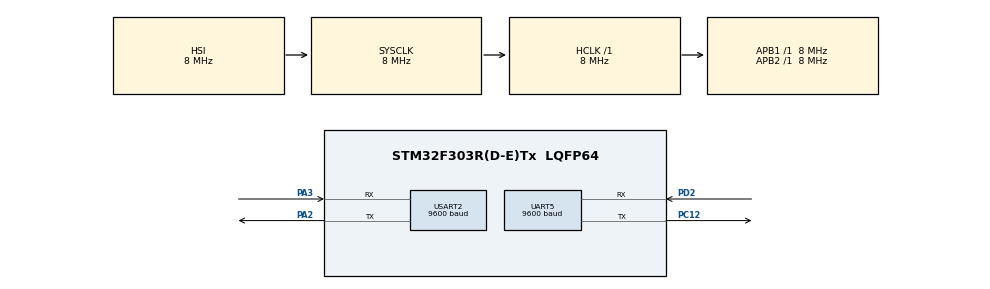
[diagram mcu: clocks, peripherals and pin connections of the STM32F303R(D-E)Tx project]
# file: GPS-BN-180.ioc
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FREERTOS.Tasks01=defaultTask,24,128,StartDefaultTask,Default,NULL,Dynamic,NULL,NULL
FREERTOS.configUSE_NEWLIB_REENTRANT=1
Mcu.Family=STM32F3
Mcu.Name=STM32F303R(D-E)Tx
Mcu.Package=LQFP64
NVIC.PriorityGroup=NVIC_PRIORITYGROUP_4
NVIC.TIM6_DAC_IRQn=true\:15\:0\:false\:false\:true\:false\:false\:true\:true
NVIC.TimeBase=TIM6_DAC_IRQn
NVIC.TimeBaseIP=TIM6
NVIC.UART5_IRQn=true\:5\:0\:false\:false\:true\:true\:true\:true\:true
PA13.Mode=Serial_Wire
PA13.Signal=SYS_JTMS-SWDIO
PA14.Mode=Serial_Wire
PA14.Signal=SYS_JTCK-SWCLK
PA2.Mode=Asynchronous
PA2.Signal=USART2_TX
PA3.Mode=Asynchronous
PA3.Signal=USART2_RX
PC12.Mode=Asynchronous
PC12.Signal=UART5_TX
PD2.Mode=Asynchronous
PD2.Signal=UART5_RX
ProjectManager.HeapSize=0x200
ProjectManager.StackSize=0x400
ProjectManager.TargetToolchain=STM32CubeIDE
RCC.AHBFreq_Value=8000000
RCC.APB1Freq_Value=8000000
RCC.APB2Freq_Value=8000000
RCC.CortexFreq_Value=8000000
RCC.HSE_VALUE=8000000
RCC.HSI_VALUE=8000000
RCC.LSE_VALUE=32768
RCC.SYSCLKFreq_VALUE=8000000
RCC.USBFreq_Value=16000000
UART5.BaudRate=9600
USART2.BaudRate=9600
USART2.VirtualMode-Asynchronous=VM_ASYNC
VP_FREERTOS_VS_CMSIS_V2.Mode=CMSIS_V2
VP_SYS_VS_tim6.Mode=TIM6
board=custom

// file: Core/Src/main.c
/* USER CODE BEGIN Header */
/**
  ******************************************************************************
  * @file           : main.c
  * @brief          : Main program body
  * @author         : Divesh Dutt
  * Email           : diveshdutt2@gmail.com
  ******************************************************************************
  * @attention
  *
  * Copyright (c) 2026 STMicroelectronics.
  * All rights reserved.
  *
  * This software is licensed under terms that can be found in the LICENSE file
  * in the root directory of this software component.
  * If no LICENSE file comes with this software, it is provided AS-IS.
  *
  ******************************************************************************
  */
/* USER CODE END Header */
#include "main.h"
#include "cmsis_os.h"

/* USER CODE BEGIN Includes */
#include <stdio.h>
#include <string.h>
#include <stdlib.h>
#include "FreeRTOS.h"
#include "task.h"
/* USER CODE END Includes */

UART_HandleTypeDef huart5;
UART_HandleTypeDef huart2;

/* Definitions for defaultTask */
osThreadId_t defaultTaskHandle;
const osThreadAttr_t defaultTask_attributes = {
  .name = "defaultTask",
  .stack_size = 128 * 4,
  .priority = (osPriority_t) osPriorityNormal,
};
/* USER CODE BEGIN PV */
uint8_t rx_byte;
char rx_buffer[128];
int rx_index = 0;
char parse_buffer[128];
volatile uint8_t line_ready = 0;
char DefBuffer[30];
char hrtBuffer[30];
float latitude = 0.0;
float longitude = 0.0;
int gps_fix = 0;
TaskHandle_t GpsTaskHandle = NULL;
TaskHandle_t HeartbeatTaskHandle = NULL;
/* USER CODE END PV */

void SystemClock_Config(void);
static void MX_GPIO_Init(void);
static void MX_USART2_UART_Init(void);
static void MX_UART5_Init(void);
void StartDefaultTask(void *argument);
void HAL_UART_RxCpltCallback(UART_HandleTypeDef *huart);

/* USER CODE BEGIN PFP */
char* extract_gps_column(char *str, int field_index);
void parse_gps_line(char *line);
void StartGpsTask(void *argument);
void StartHeartbeatTask(void *argument);

/* USER CODE END PFP */

int main(void)
{

  /* USER CODE BEGIN 1 */
	 HAL_NVIC_SetPriorityGrouping(NVIC_PRIORITYGROUP_4);
  /* USER CODE END 1 */

  /* MCU Configuration--------------------------------------------------------*/

  /* Reset of all peripherals, Initializes the Flash interface and the Systick. */
  HAL_Init();

  /* Configure the system clock */
  SystemClock_Config();

  /* Initialize all configured peripherals */
  MX_GPIO_Init();
  MX_USART2_UART_Init();
  MX_UART5_Init();
  /* USER CODE BEGIN 2 */
  HAL_UART_Receive_IT(&huart5, &rx_byte, 1);
  /* USER CODE END 2 */

  /* Init scheduler */
  osKernelInitialize();

  /* Create the thread(s) */
  /* creation of defaultTask created by cubeMX*/
  defaultTaskHandle = osThreadNew(StartDefaultTask, NULL, &defaultTask_attributes);

  /* USER CODE BEGIN RTOS_THREADS */
  /* add threads, ... */
  xTaskCreate(
        StartGpsTask,     // 1. Name of the function loop code block
        "GpsTask",        // 2. text label name for debugging diagnostics
        256,              // 3. Need Large stack since it do complex task 256 words = 1024 bytes
        NULL,             // 4. Parameter object hook pointer passed down to task
        25,                //5. Execution Priority Rank (Higher = More Urgent) since default task has priority 24
        &GpsTaskHandle    // 6. task handler
    );

  xTaskCreate(
       StartHeartbeatTask,     // 1.Name of the function loop code block
       "HeartTask",            // 2.Diagnostic text tag used for trace tools
       128,                    // 3.Stack depth size (128 words = 512 bytes is enough for basic GPIOs)
       NULL,                   // 4.Parameter pointer argument hook
       24,                     // 5.Execution Priority Rank (Higher = More Urgent) since default task has priority 24
       &HeartbeatTaskHandle    // 6.task handler
   );
  /* USER CODE END RTOS_THREADS */

  /* Start scheduler */
  osKernelStart();

  /* We should never get here as control is now taken by the scheduler */

  /* Infinite loop */
  while (1)
  {

  }
}

void SystemClock_Config(void)
{
  RCC_OscInitTypeDef RCC_OscInitStruct = {0};
  RCC_ClkInitTypeDef RCC_ClkInitStruct = {0};
  RCC_PeriphCLKInitTypeDef PeriphClkInit = {0};

  /** Initializes the RCC Oscillators according to the specified parameters
  * in the RCC_OscInitTypeDef structure.
  */
  RCC_OscInitStruct.OscillatorType = RCC_OSCILLATORTYPE_HSI;
  RCC_OscInitStruct.HSIState = RCC_HSI_ON;
  RCC_OscInitStruct.HSICalibrationValue = RCC_HSICALIBRATION_DEFAULT;
  RCC_OscInitStruct.PLL.PLLState = RCC_PLL_NONE;
  if (HAL_RCC_OscConfig(&RCC_OscInitStruct) != HAL_OK)
  {
    Error_Handler();
  }

  /** Initializes the CPU, AHB and APB buses clocks
  */
  RCC_ClkInitStruct.ClockType = RCC_CLOCKTYPE_HCLK|RCC_CLOCKTYPE_SYSCLK
                              |RCC_CLOCKTYPE_PCLK1|RCC_CLOCKTYPE_PCLK2;
  RCC_ClkInitStruct.SYSCLKSource = RCC_SYSCLKSOURCE_HSI;
  RCC_ClkInitStruct.AHBCLKDivider = RCC_SYSCLK_DIV1;
  RCC_ClkInitStruct.APB1CLKDivider = RCC_HCLK_DIV1;
  RCC_ClkInitStruct.APB2CLKDivider = RCC_HCLK_DIV1;

  if (HAL_RCC_ClockConfig(&RCC_ClkInitStruct, FLASH_LATENCY_0) != HAL_OK)
  {
    Error_Handler();
  }
  PeriphClkInit.PeriphClockSelection = RCC_PERIPHCLK_USART2|RCC_PERIPHCLK_UART5;
  PeriphClkInit.Usart2ClockSelection = RCC_USART2CLKSOURCE_PCLK1;
  PeriphClkInit.Uart5ClockSelection = RCC_UART5CLKSOURCE_PCLK1;
  if (HAL_RCCEx_PeriphCLKConfig(&PeriphClkInit) != HAL_OK)
  {
    Error_Handler();
  }
}

static void MX_UART5_Init(void)
{

  huart5.Instance = UART5;
  huart5.Init.BaudRate = 9600;
  huart5.Init.WordLength = UART_WORDLENGTH_8B;
  huart5.Init.StopBits = UART_STOPBITS_1;
  huart5.Init.Parity = UART_PARITY_NONE;
  huart5.Init.Mode = UART_MODE_TX_RX;
  huart5.Init.HwFlowCtl = UART_HWCONTROL_NONE;
  huart5.Init.OverSampling = UART_OVERSAMPLING_16;
  huart5.Init.OneBitSampling = UART_ONE_BIT_SAMPLE_DISABLE;
  huart5.AdvancedInit.AdvFeatureInit = UART_ADVFEATURE_NO_INIT;
  if (HAL_UART_Init(&huart5) != HAL_OK)
  {
    Error_Handler();
  }

}

static void MX_USART2_UART_Init(void)
{

  huart2.Instance = USART2;
  huart2.Init.BaudRate = 9600;
  huart2.Init.WordLength = UART_WORDLENGTH_8B;
  huart2.Init.StopBits = UART_STOPBITS_1;
  huart2.Init.Parity = UART_PARITY_NONE;
  huart2.Init.Mode = UART_MODE_TX_RX;
  huart2.Init.HwFlowCtl = UART_HWCONTROL_NONE;
  huart2.Init.OverSampling = UART_OVERSAMPLING_16;
  huart2.Init.OneBitSampling = UART_ONE_BIT_SAMPLE_DISABLE;
  huart2.AdvancedInit.AdvFeatureInit = UART_ADVFEATURE_NO_INIT;
  if (HAL_UART_Init(&huart2) != HAL_OK)
  {
    Error_Handler();
  }

}

static void MX_GPIO_Init(void)
{

  /* GPIO Ports Clock Enable */
  __HAL_RCC_GPIOA_CLK_ENABLE();
  __HAL_RCC_GPIOC_CLK_ENABLE();
  __HAL_RCC_GPIOD_CLK_ENABLE();

  /* USER CODE BEGIN MX_GPIO_Init_2 */
  /* USER CODE BEGIN MX_GPIO_Init_2 */
   GPIO_InitTypeDef GPIO_InitStruct = {0};

   /* 1. Configure the LED Pin (PA5) to start in a LOW state */
   HAL_GPIO_WritePin(GPIOA, GPIO_PIN_5, GPIO_PIN_RESET);

   /* 2. Set up the GPIO parameters for PA5 */
   GPIO_InitStruct.Pin = GPIO_PIN_5;
   GPIO_InitStruct.Mode = GPIO_MODE_OUTPUT_PP;       // Push-Pull Output Mode
   GPIO_InitStruct.Pull = GPIO_NOPULL;               // No internal pull-up/pull-down resistors
   GPIO_InitStruct.Speed = GPIO_SPEED_FREQ_LOW;      // Low speed is perfect for a basic blinking LED

   /* 3. Apply the settings directly to the hardware register */
   HAL_GPIO_Init(GPIOA, &GPIO_InitStruct);
   /* USER CODE END MX_GPIO_Init_2 */
  /* USER CODE END MX_GPIO_Init_2 */
}

/* USER CODE BEGIN 4 */

void HAL_UART_RxCpltCallback(UART_HandleTypeDef *huart)
{
    if (huart->Instance == UART5) // Change to your exact GPS UART instance
    {
        if (rx_byte == '\n' || rx_byte == '\r')   // check for the end of sequence
        {
            if (rx_index > 0)
            {
                rx_buffer[rx_index] = '\0';
                strncpy(parse_buffer, rx_buffer,sizeof(parse_buffer)-1); // Copy from rx_buffer to parsing buffer (parse_buffer) which can be parsed later
                parse_buffer[sizeof(parse_buffer)-1] = '\0';

                //signal the GPS task that a line is ready
               BaseType_t xHigherPriorityTaskWoken = pdFALSE;
                vTaskNotifyGiveFromISR(GpsTaskHandle, &xHigherPriorityTaskWoken);
               // portYIELD_FROM_ISR(pdTRUE);  //it will do the context switch immediately to StartGpsTask
                portYIELD_FROM_ISR(xHigherPriorityTaskWoken);
            }
            rx_index = 0;   // rx_index = 0 so that next sequence of data can be received
        }
        else if (rx_index < sizeof(rx_buffer) - 1)  //rx_buffer should not be more that 128 bytes
        {
            rx_buffer[rx_index++] = rx_byte;
        }
        HAL_UART_Receive_IT(&huart5, &rx_byte, 1);  //receieve the data again in interrupt mode
    }
}

void StartHeartbeatTask(void *argument)
{
    for(;;)
    {

        // Toggle the on-board LED on Port A, Pin 5
        HAL_GPIO_TogglePin(GPIOA, GPIO_PIN_5);
        sprintf(hrtBuffer,"Led Blinks on PA5...\r\n");
       	HAL_UART_Transmit(&huart2,(uint8_t*) hrtBuffer, strlen(hrtBuffer), 100);

        // Block this thread for exactly 500 milliseconds (yielding CPU power back to the kernel)

        vTaskDelay(pdMS_TO_TICKS(500));

    }
}

void StartGpsTask(void *argument)
{
    char display_msg[128];

    /* Threads must run inside an infinite loop */
    for(;;)
    {
    	 // It wakes up the exact microsecond the ISR finishes copying a new line.
    	ulTaskNotifyTake(pdTRUE, portMAX_DELAY);

    	parse_gps_line(parse_buffer);
        // Print a diagnostic message to prove the scheduler is alive
        sprintf(display_msg, "GPS is active...\r\n");
        HAL_UART_Transmit(&huart2, (uint8_t*)display_msg, strlen(display_msg), 100);

        	   if (gps_fix > 0)
               {
                   sprintf(display_msg, "STATUS: Locked! | LAT: %.6f | LON: %.6f\r\n", latitude, longitude);
                   HAL_UART_Transmit(&huart2, (uint8_t*)display_msg, strlen(display_msg), 100);
               }
               else
               {
                   // Only print on the GGA line to keep the screen cleanly moving once a second
                   if (strncmp(parse_buffer, "$GNGGA", 6) == 0 || strncmp(parse_buffer, "$GPGGA", 6) == 0)
                   {
                       sprintf(display_msg, "STATUS: Searching for Satellites...\r\n");
                       HAL_UART_Transmit(&huart2, (uint8_t*)display_msg, strlen(display_msg), 100);
                   }
               }

               // 4. Clear the flag so the interrupt knows the snapshot was processed
        line_ready = 0;
        vTaskDelay(pdMS_TO_TICKS(500));

    }
}

/**
 * @brief  Extracts, validates, and parses raw NMEA GGA sentences from the GPS module.
 * @note   Handles both $GNGGA and $GPGGA sentences dynamically. Converts raw coordinates
 *         from NMEA Degree-Minutes (DDMM.MMMMM) format to standard Decimal Degrees (DD.DDDDDD).
 *
 * @param  line: Pointer to the null-terminated string containing a single raw NMEA sentence.
 * @retval None
 */
void parse_gps_line(char *line)
{
    if (strncmp(line, "$GNGGA", 6) == 0 || strncmp(line, "$GPGGA", 6) == 0)
    {
        char *fix_ptr = extract_gps_column(line, 6);
        if (fix_ptr && strlen(fix_ptr) > 0)
        {
            gps_fix = atoi(fix_ptr);
        }
        else
        {
            gps_fix = 0;
        }

        // Only parse coordinate positions if the GPS module sees data fields
        char *lat_ptr = extract_gps_column(line, 2);

        if (lat_ptr && strlen(lat_ptr) > 0)
        {
            // Convert ASCII to float while the buffer safely holds latitude
            float raw_lat = atof(lat_ptr);

            // LATITUDE CONVERSION (NMEA DDMM.MMMMM -> Decimal DD.DDDDDD)
            int lat_degrees = (int)(raw_lat / 100);
            float lat_minutes = raw_lat - (lat_degrees * 100);
            latitude = lat_degrees + (lat_minutes / 60.0);

            // Apply Southern Hemisphere correction
            if (*extract_gps_column(line, 3) == 'S')
            {
                latitude = -latitude;
            }
        }

        // 2. EXTRACT AND PROCESS LONGITUDE SECOND
        char *lon_ptr = extract_gps_column(line, 4);

        if (lon_ptr && strlen(lon_ptr) > 0)
        {
            // Convert ASCII to float now that the buffer holds longitude
            float raw_lon = atof(lon_ptr);

            // LONGITUDE CONVERSION (NMEA DDDMM.MMMMM -> Decimal DD.DDDDDD)
            int lon_degrees = (int)(raw_lon / 100);
            float lon_minutes = raw_lon - (lon_degrees * 100);
            longitude = lon_degrees + (lon_minutes / 60.0);

            // Apply Western Hemisphere correction
            if (*extract_gps_column(line, 5) == 'W')
            {
                longitude = -longitude;
            }
        }

        // Set status to valid display mode since parsing completed successfully
        gps_fix = 1;
        }
        else
        {
            // Fields are empty, meaning no lock yet
            gps_fix = 0;
        }
    }

/**
 * @brief  Extracts a specific comma-separated data field from a raw NMEA sentence.
 * @note   This function counts commas to locate the target column.
 *         Trailing control characters (\r, \n) or asterisk delimiters (*) will
 *         automatically terminate the parsing field.
 *
 * @param  line:   Pointer to the null-terminated raw NMEA string (e.g., $GNGGA,...).
 * @param  target_column: The index of the column to extract (0-indexed or 1-indexed,
 *  (from Datasheet of GPS Module) depending on implementation. Here, 2=Lat, 4=Lon, 6=quality).
 *
 * @retval char*:  Pointer to a static null-terminated string containing the column data.
 *                 Returns NULL if the target column index is not found in the line.
 */

char* extract_gps_column(char *str, int field_index)
{
	// Local static buffer to store and return the text field
    static char field_buffer[32];
    int comma_count = 0;
    int buf_idx = 0;
    // Reset buffer to prevent garbage data to corrupt
    memset(field_buffer, 0, sizeof(field_buffer));

    // Traverse the string until we find the start of the target column
    while (*str && comma_count < field_index)
    {
        if (*str == ',')
        {
            comma_count++;
        }
        str++;
        // Return NULL if the string ended before reaching the desired column
        if (*str == '\0')
         {
             return NULL;
         }
    }

    //Copy characters from the column until hitting a delimiter or boundary
    while (*str && *str != ',' && *str != '*' && *str != '\r' && *str != '\n')
    {
        if (buf_idx < 31)
        {
            field_buffer[buf_idx++] = *str;
        }
        str++;
    }
    //Explicitly null-terminate the extracted string
    field_buffer[buf_idx] = '\0';
    return field_buffer;
}
/* USER CODE END 4 */

void StartDefaultTask(void *argument)
{
  /* USER CODE BEGIN 5 */

  /* Infinite loop */
  for(;;)
  {
	 sprintf(DefBuffer,"Default Task is running...\r\n");
	 HAL_UART_Transmit(&huart2,(uint8_t*) DefBuffer, strlen(DefBuffer), 100);
     osDelay(500);
  }
  /* USER CODE END 5 */
}

void HAL_TIM_PeriodElapsedCallback(TIM_HandleTypeDef *htim)
{
  if (htim->Instance == TIM6)
  {
    HAL_IncTick();
  }
}

void Error_Handler(void)
{
  __disable_irq();
  while (1)
  {
  }
}
